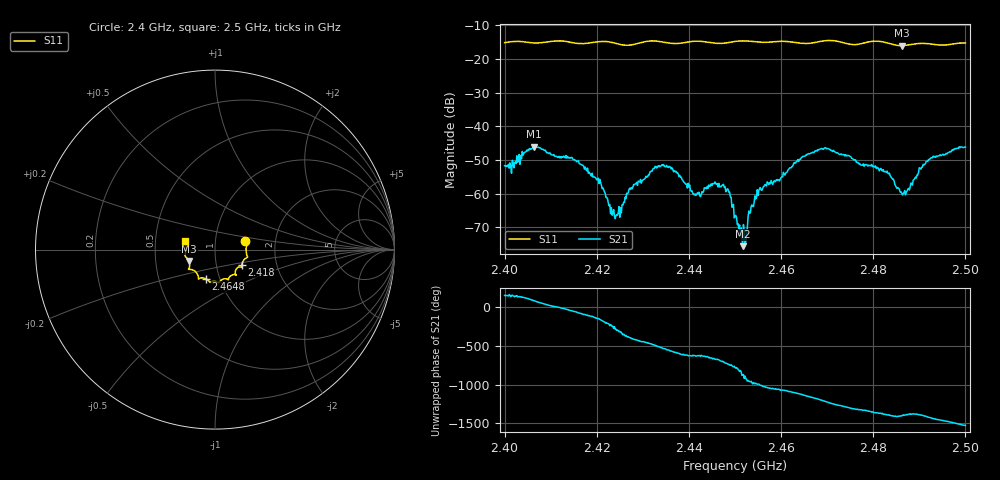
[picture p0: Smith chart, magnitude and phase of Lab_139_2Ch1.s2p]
# Hz S RI R 50
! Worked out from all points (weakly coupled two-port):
!   601 points, 2.4 GHz to 2.5 GHz, reference 50 ohm
!   highest |S21| = -46.04 dB at 2.4063 GHz (marker M1); lowest = -75.6 dB at 2.4517 GHz (marker M2)
!   lowest |S11| = -16.0 dB at 2.4862 GHz (marker M3), VSWR 1.37, Z = 37.1 - j4.82 ohm
!   |S11| at or under -10 dB: start of sweep to end of sweep
!   S12 and S22 are empty: the file has one direction only
!   S11 on the Smith chart (normalised r, x): 2.4 GHz: 1.40, +0.13; 2.418 GHz: 1.33, -0.23; 2.4648 GHz: 0.86, -0.29; 2.5 GHz: 0.71, +0.07
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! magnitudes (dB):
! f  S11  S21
! 2.4 GHz  -15.1  -51.7
! 2.4063 GHz  -15.2  -46.0
! 2.4167 GHz  -15.4  -51.4
! 2.418 GHz  -15.3  -52.4
! 2.4205 GHz  -14.8  -57.0
! 2.4242 GHz  -15.4  -66.5
! 2.4275 GHz  -15.8  -58.2
! 2.4333 GHz  -14.7  -52.0
! 2.436 GHz  -15.3  -52.1
! 2.4413 GHz  -14.7  -60.0
! 2.4473 GHz  -15.3  -57.4
! 2.4487 GHz  -15.1  -59.5
! 2.45 GHz  -14.8  -66.8
! 2.4517 GHz  -14.6  -75.6
! 2.4553 GHz  -15.0  -58.4
! 2.4648 GHz  -15.4  -48.9
! 2.4667 GHz  -15.3  -47.8
! 2.47 GHz  -14.5  -46.6
! 2.4833 GHz  -15.3  -54.0
! 2.4862 GHz  -16.0  -59.7
! 2.4925 GHz  -15.5  -49.4
! 2.5 GHz  -15.2  -46.2
